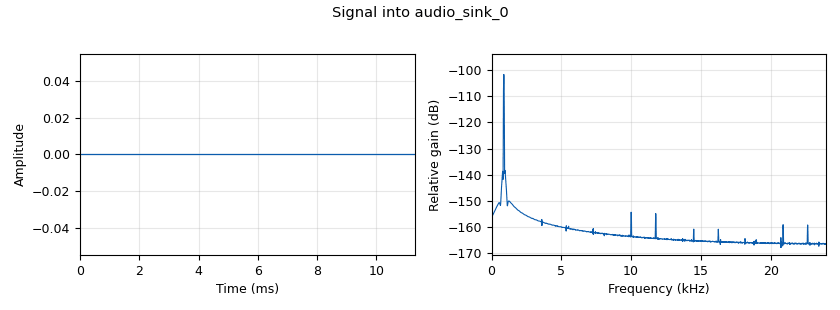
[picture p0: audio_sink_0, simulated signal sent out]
<?xml version='1.0' encoding='utf-8'?>
<?grc format='1' created='3.7.5'?>
<flow_graph>
<block>
<key>options</key>
<param><key>id</key><value>top_block</value></param>
<param><key>generate_options</key><value>wx_gui</value></param>
<param><key>category</key><value>Custom</value></param>
</block>
<block>
<key>variable</key>
<param><key>id</key><value>beeper_rate</value></param>
<param><key>_enabled</key><value>False</value></param>
<param><key>value</key><value>2</value></param>
</block>
<block>
<key>variable</key>
<param><key>id</key><value>audio_freq</value></param>
<param><key>_enabled</key><value>False</value></param>
<param><key>value</key><value>440</value></param>
</block>
<block>
<key>variable</key>
<param><key>id</key><value>samp_rate</value></param>
<param><key>value</key><value>48000</value></param>
</block>
<block>
<key>xmlrpc_server</key>
<param><key>id</key><value>xmlrpc_server</value></param>
<param><key>addr</key><value>str(server_address)</value></param>
<param><key>port</key><value>int(server_port)</value></param>
</block>
<block>
<key>variable_static_text</key>
<param><key>id</key><value>variable_static_text_0</value></param>
<param><key>label</key><value>Mode</value></param>
<param><key>value</key><value>'XMLRPC Server'</value></param>
<param><key>converver</key><value>str_converter</value></param>
<param><key>formatter</key><value>None</value></param>
<param><key>grid_pos</key><value>1,1,1,3</value></param>
</block>
<block>
<key>variable_text_box</key>
<param><key>id</key><value>server_address</value></param>
<param><key>label</key><value>Listen address</value></param>
<param><key>value</key><value>'localhost'</value></param>
<param><key>converver</key><value>str_converter</value></param>
<param><key>formatter</key><value>None</value></param>
<param><key>grid_pos</key><value>2,1,1,2</value></param>
</block>
<block>
<key>variable_text_box</key>
<param><key>id</key><value>server_port</value></param>
<param><key>label</key><value>port</value></param>
<param><key>value</key><value>31186</value></param>
<param><key>converver</key><value>int_converter</value></param>
<param><key>formatter</key><value>None</value></param>
<param><key>grid_pos</key><value>2,3,1,1</value></param>
</block>
<block>
<key>audio_sink</key>
<param><key>id</key><value>audio_sink_0</value></param>
<param><key>samp_rate</key><value>samp_rate</value></param>
</block>
<block>
<key>blocks_multiply_xx</key>
<param><key>id</key><value>blocks_multiply_xx_0</value></param>
<param><key>type</key><value>float</value></param>
</block>
<block>
<key>analog_sig_source_x</key>
<param><key>id</key><value>analog_sig_source_x_1</value></param>
<param><key>type</key><value>float</value></param>
<param><key>samp_rate</key><value>samp_rate</value></param>
<param><key>waveform</key><value>analog.GR_SQR_WAVE</value></param>
<param><key>freq</key><value>beeper_rate</value></param>
<param><key>amp</key><value>1</value></param>
<param><key>offset</key><value>0</value></param>
</block>
<block>
<key>analog_sig_source_x</key>
<param><key>id</key><value>analog_sig_source_x_0</value></param>
<param><key>type</key><value>float</value></param>
<param><key>samp_rate</key><value>samp_rate</value></param>
<param><key>waveform</key><value>analog.GR_COS_WAVE</value></param>
<param><key>freq</key><value>audio_freq</value></param>
<param><key>amp</key><value>1</value></param>
<param><key>offset</key><value>0</value></param>
</block>
<block>
<key>variable_slider</key>
<param><key>id</key><value>beeper_rate</value></param>
<param><key>label</key><value></value></param>
<param><key>value</key><value>2</value></param>
<param><key>min</key><value>1</value></param>
<param><key>max</key><value>10</value></param>
<param><key>num_steps</key><value>10</value></param>
<param><key>style</key><value>wx.SL_HORIZONTAL</value></param>
<param><key>converver</key><value>int_converter</value></param>
<param><key>grid_pos</key><value>4,1,1,3</value></param>
</block>
<block>
<key>variable_slider</key>
<param><key>id</key><value>audio_freq</value></param>
<param><key>label</key><value></value></param>
<param><key>value</key><value>880</value></param>
<param><key>min</key><value>20</value></param>
<param><key>max</key><value>4000</value></param>
<param><key>num_steps</key><value>500</value></param>
<param><key>style</key><value>wx.SL_HORIZONTAL</value></param>
<param><key>converver</key><value>float_converter</value></param>
<param><key>grid_pos</key><value>3,1,1,3</value></param>
</block>
<connection><source_block_id>analog_sig_source_x_1</source_block_id><sink_block_id>blocks_multiply_xx_0</sink_block_id><source_key>0</source_key><sink_key>1</sink_key></connection>
<connection><source_block_id>blocks_multiply_xx_0</source_block_id><sink_block_id>audio_sink_0</sink_block_id><source_key>0</source_key><sink_key>0</sink_key></connection>
<connection><source_block_id>analog_sig_source_x_0</source_block_id><sink_block_id>blocks_multiply_xx_0</sink_block_id><source_key>0</source_key><sink_key>0</sink_key></connection>
</flow_graph>
